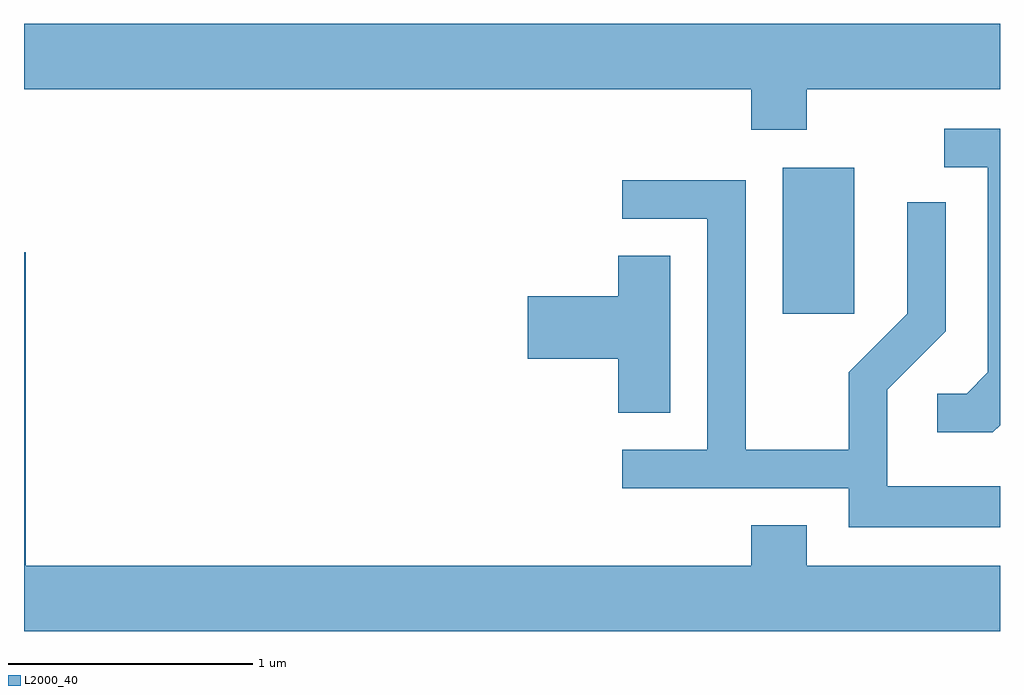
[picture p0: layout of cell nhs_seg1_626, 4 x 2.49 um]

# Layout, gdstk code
import gdstk
lib = gdstk.Library(unit=1e-6, precision=1e-09)
def R(c, l, rs):  # rectangles x0, y0, x1, y1
    for r in rs: c.add(gdstk.rectangle(r[:2], r[2:], *l))
def P(c, l, *ps):  # polygons
    for p in ps: c.add(gdstk.Polygon(p, *l))
L2000_40 = (2000, 40)

nhs_seg1_626 = lib.new_cell('nhs_seg1_626')
R(nhs_seg1_626, L2000_40, [(206.721,925.296,207.014,925.894)])
P(nhs_seg1_626, L2000_40, [(206.819,926.216),(207.611,926.216),(207.611,926.484),(203.611,926.484),(203.611,926.216),(206.591,926.216),(206.591,926.051),(206.819,926.051)],
  [(207.611,924.84),(207.611,926.054),(207.383,926.054),(207.383,925.896),(207.561,925.896),(207.561,925.057),(207.474,924.969),(207.353,924.969),(207.353,924.811),(207.582,924.811)],
  [(207.611,924.589),(207.149,924.589),(207.149,924.984),(207.389,925.224),(207.389,925.753),(207.231,925.753),(207.231,925.297),(206.991,925.057),(206.991,924.739),(206.569,924.739),(206.569,925.844),(206.063,925.844),(206.063,925.686),(206.411,925.686),(206.411,924.739),(206.063,924.739),(206.063,924.581),(206.991,924.581),(206.991,924.421),(207.611,924.421)],
  [(207.611,924.264),(206.819,924.264),(206.819,924.429),(206.591,924.429),(206.591,924.264),(203.619,924.264),(203.619,925.549),(203.611,925.549),(203.611,923.996),(207.611,923.996)],
  [(206.259,925.534),(206.046,925.534),(206.046,925.369),(205.676,925.369),(205.676,925.111),(206.046,925.111),(206.046,924.891),(206.259,924.891)])

lib.write_gds('nhs_seg1_626.gds')
